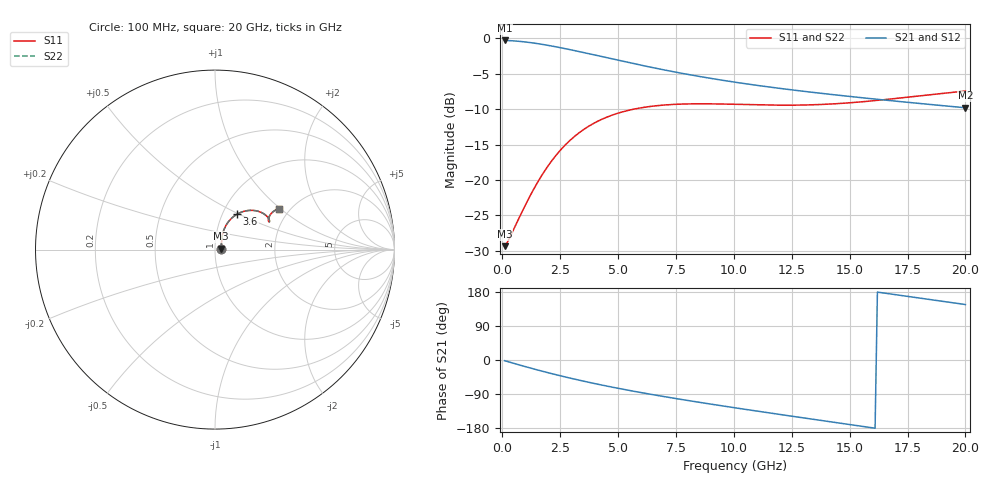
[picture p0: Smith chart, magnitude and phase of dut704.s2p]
! Touchstone file exported from HFSS 2024.1.0
!  File:  C:/UserFiles/LocalFiles/RDL_TSV_Batchsim/temp_RDL_TSV_704_1779886825.aedt
!  Generated:  09:15:55 PM May 27, 2026
!  Design:  RDL_TSV
!  Project:  temp_RDL_TSV_704_1779886825
!  Setup:  Setup1
!  Solution:  Sweep
! Variables:
!  dtsv = 8.2um
!  hbump = 3um
!  htsv = 76.42um
!  ldown = 273.78um
!  lrdl = 523.75um
!  p = 40
!  p1 = 47.94um
!  rhole = 10um
!  subl = 2916.34um
!  t = 450um
!  tdown = 3.41um
!  trdl = 2.12um
!  viad = 10um
!  wdown = 29.72um
!  wrdl = 11.23um
!  xbump = 18um
# GHz S MA R 50.000000
! Terminal data exported
! Port[1] = TM1_1_T1
! Port[2] = TM1_4_T1
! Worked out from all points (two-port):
!   200 points, 100 MHz to 20 GHz, reference 50 ohm
!   highest |S21| = -0.30 dB at 100 MHz (marker M1); lowest = -9.8 dB at 20 GHz (marker M2)
!   |S21| within 3 dB of the highest: start of sweep to 5.295 GHz
!   lowest |S11| = -29.3 dB at 100 MHz (marker M3), VSWR 1.07, Z = 53.5 + j0.628 ohm
!   |S11| at or under -10 dB: start of sweep to 5.677 GHz
!   |S22| runs from -29.3 to -7.4 dB; largest |S21 - S12| = 1.2e-14
!   S11 on the Smith chart (normalised r, x): 100 MHz: 1.07, +0.01; 3.6 GHz: 1.17, +0.49; 20 GHz: 1.76, +0.98
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0.1  0.03411 9.9  0.9662 -1.8  0.9662 -1.8  0.03411 9.9
! Gamma 0 0 0 0
! Port Impedance 50 0 50 0
0.3  0.03854 26.4  0.9635 -5.4  0.9635 -5.4  0.03854 26.4
0.9  0.06184 52.9  0.9466 -15.9  0.9466 -15.9  0.06182 52.9
1.4  0.08872 62.5  0.9243 -24.3  0.9243 -24.3  0.08872 62.5
1.8  0.114 65.4  0.9027 -30.8  0.9027 -30.8  0.114 65.4
2.2  0.1411 65.8  0.8788 -37.0  0.8788 -37.0  0.1411 65.8
2.6  0.1686 64.5  0.8534 -43.0  0.8534 -43.0  0.1687 64.5
3  0.1954 62.3  0.8274 -48.8  0.8274 -48.8  0.1954 62.3
3.5  0.2264 58.8  0.7946 -55.7  0.7946 -55.7  0.2265 58.8
3.6  0.2322 58.1  0.7881 -57.1  0.7881 -57.1  0.2323 58.1
4.3  0.2683 52.7  0.7433 -66.2  0.7433 -66.2  0.2684 52.7
5  0.2964 47.6  0.7009 -74.7  0.7009 -74.7  0.2965 47.6
5.9  0.3214 41.6  0.6511 -85.0  0.6511 -85.0  0.3215 41.6
6.8  0.3362 36.7  0.6071 -94.6  0.6071 -94.6  0.3363 36.7
8.4  0.3451 30.5  0.5422 -110.6  0.5422 -110.6  0.3452 30.5
10.1  0.342 27.4  0.4889 -126.6  0.4889 -126.6  0.3422 27.4
11.7  0.3377 27.2  0.4495 -141.1  0.4495 -141.1  0.3379 27.1
13.4  0.3395 28.8  0.4157 -156.3  0.4157 -156.3  0.3397 28.8
15  0.3507 31.0  0.3889 -170.4  0.3889 -170.4  0.3508 30.9
16.7  0.3719 32.7  0.3641 174.8  0.3641 174.8  0.3719 32.6
18.4  0.3987 33.2  0.3422 160.1  0.3422 160.1  0.3986 33.1
20  0.4244 32.6  0.3237 146.4  0.3237 146.4  0.4243 32.5
